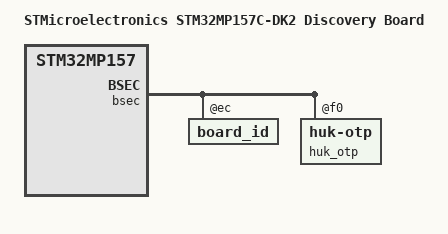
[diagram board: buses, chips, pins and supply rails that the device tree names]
// SPDX-License-Identifier: (GPL-2.0+ OR BSD-3-Clause)
/*
 * Copyright (C) STMicroelectronics 2019 - All Rights Reserved
 * Author: Alexandre Torgue <alexandre.torgue@st.com> for STMicroelectronics.
 */

/dts-v1/;

#include "stm32mp157a-dk1.dts"

/ {
	model = "STMicroelectronics STM32MP157C-DK2 Discovery Board";
	compatible = "st,stm32mp157c-dk2", "st,stm32mp157";

	aliases {
		ethernet0 = &ethernet0;
		serial0 = &uart4;
		serial1 = &usart3;
		serial2 = &uart7;
		serial3 = &usart2;
	};

	chosen {
		stdout-path = "serial0:115200n8";	
	};
};

&bsec {
	board_id: board_id@ec {
		reg = <0xec 0x4>;
		st,non-secure-otp;
	};
	huk_otp: huk-otp@f0 {
		reg = <0xf0 0x10>;
	};
};

&bsec {
	board_id: board_id@ec {
		reg = <0xec 0x4>;
		st,non-secure-otp;
	};
	huk_otp: huk-otp@f0 {
		reg = <0xf0 0x10>;
	};
};

&dsi {
	status = "disabled";
	phy-dsi-supply = <&reg18>;

	ports {
		#address-cells = <1>;
		#size-cells = <0>;

		port@0 {
			reg = <0>;
			dsi_in: endpoint {
				remote-endpoint = <&ltdc_ep1_out>;
			};
		};

		port@1 {
			reg = <1>;
			dsi_out: endpoint {
				remote-endpoint = <&panel_in>;
			};
		};
	};

	panel@0 {
		compatible = "orisetech,otm8009a";
		reg = <0>;
		reset-gpios = <&gpioe 4 GPIO_ACTIVE_LOW>;
		power-supply = <&v3v3>;
		status = "okay";

		port {
			panel_in: endpoint {
				remote-endpoint = <&dsi_out>;
			};
		};
	};
};

&ltdc {
	status = "disabled";

	port {
		#address-cells = <1>;
		#size-cells = <0>;

		ltdc_ep1_out: endpoint@1 {
			reg = <1>;
			remote-endpoint = <&dsi_in>;
		};
	};
};

&rcc {
	status = "okay";
};

&usart2 {
	pinctrl-names = "default", "sleep", "idle";
	pinctrl-0 = <&usart2_pins_c>;
	pinctrl-1 = <&usart2_sleep_pins_c>;
	pinctrl-2 = <&usart2_idle_pins_c>;
	status = "disabled";
};
